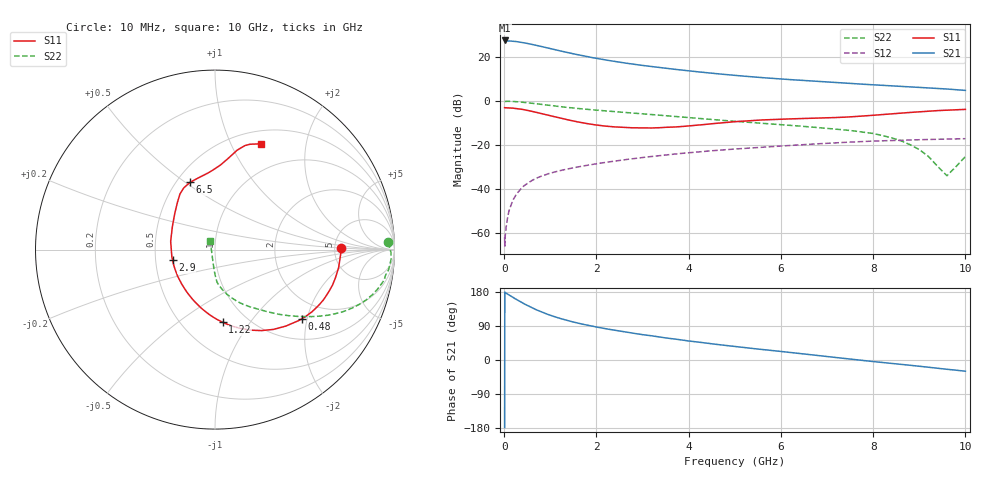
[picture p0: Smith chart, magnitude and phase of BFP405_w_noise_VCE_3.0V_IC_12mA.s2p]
! Infineon Technologies  Discrete & RF Semiconductors
! BFP405
! VCE =  3.0 V,  IC =  12 mA
! Common Emitter S-Parameters:  Jan 2016
# GHz  S  MA  R  50
!  f  S11  S21  S12  S22
! GHz  MAG  ANG  MAG  ANG  MAG  ANG  MAG  ANG
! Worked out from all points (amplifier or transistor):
!   233 points, 10 MHz to 10 GHz, reference 50 ohm
!   highest |S21| = 27.5 dB at 10 MHz (marker M1)
!   |S21| within 3 dB of that: start of sweep to 859.3 MHz
!   unconditionally stable (mu >= 1): start of sweep to 18.15 MHz; 2.448 GHz to end of sweep
!   at 200 MHz: K = 0.17, MSG = 35.9 dB, |S12| = -44.7 dB
!   at 1.74 GHz: K = 0.82, MSG = 24.9 dB, |S12| = -29.5 dB
!   at 10 GHz: K = 1.36, MAG = 7.4 dB, |S12| = -17.2 dB
!   lowest NFmin = 1.77 dB at 900 MHz
!   S11 on the Smith chart (normalised r, x): 10 MHz: 5.72, +0.17; 480 MHz: 1.49, -1.85; 1.22 GHz: 0.77, -0.75; 2.9 GHz: 0.61, -0.08; 6.5 GHz: 0.58, +0.52; 10 GHz: 0.65, +1.31
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0.01  0.7024 0.6  23.71 -178.5  0.0008 -12.1  0.9662 2.4
0.02  0.7018 -1.3  23.49 177.3  0.0008 93.2  0.9738 0.3
0.15  0.691 -12.3  22.93 168.4  0.0043 83.8  0.9784 -5.0
0.24  0.6767 -20.0  22.51 161.6  0.0068 81.2  0.9629 -8.2
0.4  0.6418 -32.7  21.29 150.4  0.011 76.0  0.9353 -13.2
0.48  0.6181 -38.6  20.53 145.4  0.0129 73.9  0.9168 -15.4
0.6  0.5813 -47.1  19.33 137.9  0.0155 70.8  0.8868 -18.5
0.8  0.52 -60.2  17.36 127.2  0.0194 67.1  0.8355 -22.7
1  0.4625 -71.9  15.49 118.0  0.0228 64.2  0.788 -26.2
1.22  0.407 -84.0  13.69 109.5  0.0262 62.1  0.7411 -29.3
1.46  0.3571 -96.6  12.04 101.4  0.0296 60.3  0.6967 -32.1
1.68  0.3217 -107.5  10.78 95.1  0.0327 59.0  0.6615 -34.3
2.2  0.2677 -133.5  8.536 82.5  0.0401 56.4  0.5938 -38.8
2.9  0.2438 -165.8  6.627 68.8  0.0503 52.7  0.5198 -44.3
3.4  0.2473 173.3  5.695 60.2  0.0577 49.5  0.4708 -48.2
4  0.2703 151.4  4.827 50.2  0.0665 45.4  0.4172 -53.4
5.1  0.343 126.9  3.733 34.3  0.082 37.2  0.3383 -63.3
6.5  0.3997 110.4  2.92 15.8  0.1018 26.9  0.2638 -74.2
6.8  0.4063 105.2  2.782 11.9  0.1061 24.4  0.2483 -76.3
8.4  0.5099 82.1  2.193 -9.0  0.1261 9.8  0.1451 -89.4
9.6  0.6182 71.7  1.867 -24.5  0.1361 -0.5  0.02 -171.3
10  0.6425 66.5  1.735 -29.6  0.1386 -3.4  0.0545 120.8
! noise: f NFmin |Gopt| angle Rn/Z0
0.9  1.77  0.15  3  0.32
1.8  2.01  0.1  -12  0.29
2.4  2.13  0.09  -14  0.31
3  2.17  0.05  -9  0.29
4  2.32  0.08  -88  0.29
5  2.7  0.15  -96  0.31
